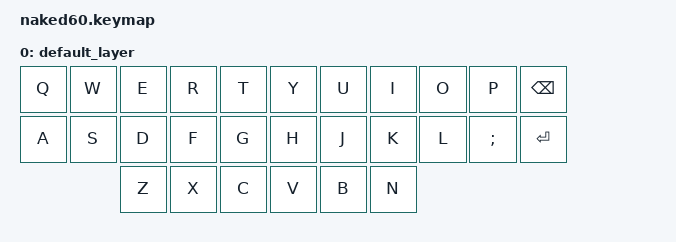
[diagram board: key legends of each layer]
/*
 * Copyright (c) 2020 The ZMK Contributors
 *
 * SPDX-License-Identifier: MIT
 */

#include <behaviors.dtsi>
#include <dt-bindings/zmk/keys.h>
#include <dt-bindings/zmk/bt.h>
#include <dt-bindings/zmk/outputs.h>


/ {
    keymap {
        compatible = "zmk,keymap";

        default_layer {
            
            bindings = <

                &kp Q     &kp W     &kp E     &kp R     &kp T           &kp Y     &kp U     &kp I     &kp O     &kp P     &kp BSPC
                &kp A     &kp S     &kp D     &kp F     &kp G           &kp H     &kp J     &kp K     &kp L     &kp SEMI  &kp RET
                                    &kp Z     &kp X     &kp C           &kp V     &kp B     &kp N
            >;
        };
    };
};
